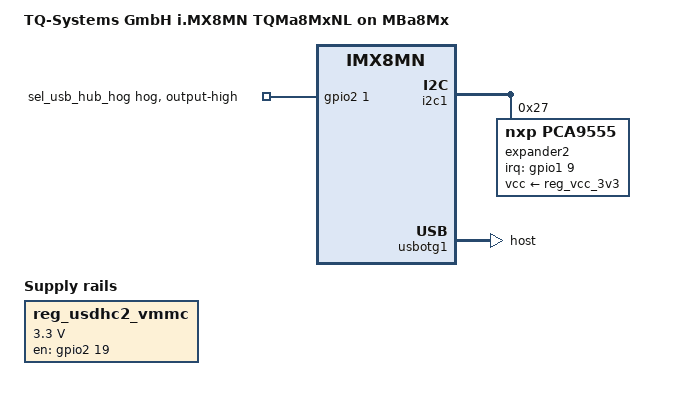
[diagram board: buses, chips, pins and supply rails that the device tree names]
// SPDX-License-Identifier: (GPL-2.0-or-later OR MIT)
/*
 * Copyright 2020-2021 TQ-Systems GmbH
 */

/dts-v1/;

#include "imx8mn-tqma8mqnl.dtsi"
#include "mba8mx.dtsi"

/ {
	model = "TQ-Systems GmbH i.MX8MN TQMa8MxNL on MBa8Mx";
	compatible = "tq,imx8mn-tqma8mqnl-mba8mx", "tq,imx8mn-tqma8mqnl", "fsl,imx8mn";
	chassis-type = "embedded";

	aliases {
		eeprom0 = &eeprom3;
		mmc0 = &usdhc3;
		mmc1 = &usdhc2;
		mmc2 = &usdhc1;
		rtc0 = &pcf85063;
		rtc1 = &snvs_rtc;
	};

	reg_usdhc2_vmmc: regulator-vmmc {
		compatible = "regulator-fixed";
		pinctrl-names = "default";
		pinctrl-0 = <&pinctrl_reg_usdhc2_vmmc>;
		regulator-name = "VSD_3V3";
		regulator-min-microvolt = <3300000>;
		regulator-max-microvolt = <3300000>;
		gpio = <&gpio2 19 GPIO_ACTIVE_HIGH>;
		enable-active-high;
		startup-delay-us = <100>;
		off-on-delay-us = <12000>;
	};
};

/* Located on TQMa8MxML-ADAP */
&gpio2 {
	pinctrl-names = "default";
	pinctrl-0 = <&pinctrl_usb0hub_sel>;

	sel_usb_hub_hog: sel-usb-hub-hog {
		gpio-hog;
		gpios = <1 GPIO_ACTIVE_HIGH>;
		output-high;
	};
};

&i2c1 {
	expander2: gpio@27 {
		compatible = "nxp,pca9555";
		reg = <0x27>;
		gpio-controller;
		#gpio-cells = <2>;
		vcc-supply = <&reg_vcc_3v3>;
		pinctrl-names = "default";
		pinctrl-0 = <&pinctrl_expander2>;
		interrupt-parent = <&gpio1>;
		interrupts = <9 IRQ_TYPE_EDGE_FALLING>;
		interrupt-controller;
		#interrupt-cells = <2>;
	};
};

&sai3 {
	assigned-clocks = <&clk IMX8MN_CLK_SAI3>;
	assigned-clock-parents = <&clk IMX8MN_AUDIO_PLL1_OUT>;
	clock-names = "bus", "mclk0", "mclk1", "mclk2", "mclk3", "pll8k", "pll11k";
	clocks = <&clk IMX8MN_CLK_SAI3_IPG>, <&clk IMX8MN_CLK_DUMMY>,
		 <&clk IMX8MN_CLK_SAI3_ROOT>, <&clk IMX8MN_CLK_DUMMY>,
		 <&clk IMX8MN_CLK_DUMMY>, <&clk IMX8MN_AUDIO_PLL1_OUT>,
		 <&clk IMX8MN_AUDIO_PLL2_OUT>;
};

&tlv320aic3x04 {
	clock-names = "mclk";
	clocks = <&clk IMX8MN_CLK_SAI3_ROOT>;
};

&usbotg1 {
	dr_mode = "host";
	disable-over-current;
	power-active-high;
	status = "okay";
};

&iomuxc {
	pinctrl_ecspi1: ecspi1grp {
		fsl,pins = <MX8MN_IOMUXC_ECSPI1_SCLK_ECSPI1_SCLK	0x00000146>,
			   <MX8MN_IOMUXC_ECSPI1_MOSI_ECSPI1_MOSI	0x00000146>,
			   <MX8MN_IOMUXC_ECSPI1_MISO_ECSPI1_MISO	0x00000146>,
			   <MX8MN_IOMUXC_ECSPI1_SS0_GPIO5_IO9		0x00000146>;
	};

	pinctrl_ecspi2: ecspi2grp {
		fsl,pins = <MX8MN_IOMUXC_ECSPI2_SCLK_ECSPI2_SCLK	0x00000146>,
			   <MX8MN_IOMUXC_ECSPI2_MOSI_ECSPI2_MOSI	0x00000146>,
			   <MX8MN_IOMUXC_ECSPI2_MISO_ECSPI2_MISO	0x00000146>,
			   <MX8MN_IOMUXC_ECSPI2_SS0_GPIO5_IO13		0x00000146>;
	};

	pinctrl_expander2: expander2grp {
		fsl,pins = <MX8MN_IOMUXC_GPIO1_IO09_GPIO1_IO9		0x94>;
	};

	pinctrl_fec1: fec1grp {
		fsl,pins = <MX8MN_IOMUXC_ENET_MDC_ENET1_MDC		0x40000002>,
			   <MX8MN_IOMUXC_ENET_MDIO_ENET1_MDIO		0x40000002>,
			   <MX8MN_IOMUXC_ENET_TD3_ENET1_RGMII_TD3	0x14>,
			   <MX8MN_IOMUXC_ENET_TD2_ENET1_RGMII_TD2	0x14>,
			   <MX8MN_IOMUXC_ENET_TD1_ENET1_RGMII_TD1	0x14>,
			   <MX8MN_IOMUXC_ENET_TD0_ENET1_RGMII_TD0	0x14>,
			   <MX8MN_IOMUXC_ENET_RD3_ENET1_RGMII_RD3	0x90>,
			   <MX8MN_IOMUXC_ENET_RD2_ENET1_RGMII_RD2	0x90>,
			   <MX8MN_IOMUXC_ENET_RD1_ENET1_RGMII_RD1	0x90>,
			   <MX8MN_IOMUXC_ENET_RD0_ENET1_RGMII_RD0	0x90>,
			   <MX8MN_IOMUXC_ENET_TXC_ENET1_RGMII_TXC	0x14>,
			   <MX8MN_IOMUXC_ENET_RXC_ENET1_RGMII_RXC	0x90>,
			   <MX8MN_IOMUXC_ENET_RX_CTL_ENET1_RGMII_RX_CTL	0x90>,
			   <MX8MN_IOMUXC_ENET_TX_CTL_ENET1_RGMII_TX_CTL	0x14>;
	};

	pinctrl_gpiobutton: gpiobuttongrp {
		fsl,pins = <MX8MN_IOMUXC_GPIO1_IO05_GPIO1_IO5		0x84>,
			   <MX8MN_IOMUXC_GPIO1_IO07_GPIO1_IO7		0x84>,
			   <MX8MN_IOMUXC_SD1_CLK_GPIO2_IO0		0x84>;
	};

	pinctrl_gpioled: gpioledgrp {
		fsl,pins = <MX8MN_IOMUXC_GPIO1_IO00_GPIO1_IO0		0x84>,
			   <MX8MN_IOMUXC_NAND_DQS_GPIO3_IO14		0x84>;
	};

	pinctrl_i2c2: i2c2grp {
		fsl,pins = <MX8MN_IOMUXC_I2C2_SCL_I2C2_SCL		0x400001C4>,
			   <MX8MN_IOMUXC_I2C2_SDA_I2C2_SDA		0x400001C4>;
	};

	pinctrl_i2c2_gpio: i2c2gpiogrp {
		fsl,pins = <MX8MN_IOMUXC_I2C2_SCL_GPIO5_IO16		0x400001C4>,
			   <MX8MN_IOMUXC_I2C2_SDA_GPIO5_IO17		0x400001C4>;
	};

	pinctrl_i2c3: i2c3grp {
		fsl,pins = <MX8MN_IOMUXC_I2C3_SCL_I2C3_SCL		0x400001C4>,
			   <MX8MN_IOMUXC_I2C3_SDA_I2C3_SDA		0x400001C4>;
	};

	pinctrl_i2c3_gpio: i2c3gpiogrp {
		fsl,pins = <MX8MN_IOMUXC_I2C3_SCL_GPIO5_IO18		0x400001C4>,
			   <MX8MN_IOMUXC_I2C3_SDA_GPIO5_IO19		0x400001C4>;
	};

	pinctrl_pwm3: pwm3grp {
		fsl,pins = <MX8MN_IOMUXC_GPIO1_IO14_PWM3_OUT		0x14>;
	};

	pinctrl_pwm4: pwm4grp {
		fsl,pins = <MX8MN_IOMUXC_GPIO1_IO15_PWM4_OUT		0x14>;
	};

	pinctrl_sai3: sai3grp {
		fsl,pins = <MX8MN_IOMUXC_SAI3_MCLK_SAI3_MCLK		0x94>,
			   <MX8MN_IOMUXC_SAI3_RXC_SAI3_RX_BCLK		0x94>,
			   <MX8MN_IOMUXC_SAI3_RXFS_SAI3_RX_SYNC		0x94>,
			   <MX8MN_IOMUXC_SAI3_RXD_SAI3_RX_DATA0		0x94>,
			   <MX8MN_IOMUXC_SAI3_TXFS_SAI3_TX_SYNC		0x94>,
			   <MX8MN_IOMUXC_SAI3_TXD_SAI3_TX_DATA0		0x94>,
			   <MX8MN_IOMUXC_SAI3_TXC_SAI3_TX_BCLK		0x94>;
	};

	pinctrl_uart1: uart1grp {
		fsl,pins = <MX8MN_IOMUXC_UART1_RXD_UART1_DCE_RX		0x16>,
			   <MX8MN_IOMUXC_UART1_TXD_UART1_DCE_TX		0x16>;
	};

	pinctrl_uart2: uart2grp {
		fsl,pins = <MX8MN_IOMUXC_UART2_RXD_UART2_DCE_RX		0x16>,
			   <MX8MN_IOMUXC_UART2_TXD_UART2_DCE_TX		0x16>;
	};

	pinctrl_uart3: uart3grp {
		fsl,pins = <MX8MN_IOMUXC_UART3_RXD_UART3_DCE_RX		0x16>,
			   <MX8MN_IOMUXC_UART3_TXD_UART3_DCE_TX		0x16>;
	};

	pinctrl_uart4: uart4grp {
		fsl,pins = <MX8MN_IOMUXC_UART4_RXD_UART4_DCE_RX		0x16>,
			   <MX8MN_IOMUXC_UART4_TXD_UART4_DCE_TX		0x16>;
	};

	pinctrl_usb0hub_sel: usb0hub-selgrp {
		/* SEL_USB_HUB_B */
		fsl,pins = <MX8MN_IOMUXC_SD1_CMD_GPIO2_IO1		0x84>;
	};

	pinctrl_usbotg: usbotggrp {
		fsl,pins = <MX8MN_IOMUXC_GPIO1_IO12_USB1_OTG_PWR	0x84>,
			   <MX8MN_IOMUXC_GPIO1_IO13_USB1_OTG_OC		0x84>;
	};

	pinctrl_usdhc2: usdhc2grp {
		fsl,pins = <MX8MN_IOMUXC_SD2_CLK_USDHC2_CLK		0x1d4>,
			   <MX8MN_IOMUXC_SD2_CMD_USDHC2_CMD		0x1d4>,
			   <MX8MN_IOMUXC_SD2_DATA0_USDHC2_DATA0		0x1d4>,
			   <MX8MN_IOMUXC_SD2_DATA1_USDHC2_DATA1		0x1d4>,
			   <MX8MN_IOMUXC_SD2_DATA2_USDHC2_DATA2		0x1d4>,
			   <MX8MN_IOMUXC_SD2_DATA3_USDHC2_DATA3		0x1d4>,
			   <MX8MN_IOMUXC_GPIO1_IO04_USDHC2_VSELECT	0x84>;
	};

	pinctrl_usdhc2_100mhz: usdhc2-100mhzgrp {
		fsl,pins = <MX8MN_IOMUXC_SD2_CLK_USDHC2_CLK		0x1d4>,
			   <MX8MN_IOMUXC_SD2_CMD_USDHC2_CMD		0x1d4>,
			   <MX8MN_IOMUXC_SD2_DATA0_USDHC2_DATA0		0x1d4>,
			   <MX8MN_IOMUXC_SD2_DATA1_USDHC2_DATA1		0x1d4>,
			   <MX8MN_IOMUXC_SD2_DATA2_USDHC2_DATA2		0x1d4>,
			   <MX8MN_IOMUXC_SD2_DATA3_USDHC2_DATA3		0x1d4>,
			   <MX8MN_IOMUXC_GPIO1_IO04_USDHC2_VSELECT	0x84>;
	};

	pinctrl_usdhc2_200mhz: usdhc2-200mhzgrp {
		fsl,pins = <MX8MN_IOMUXC_SD2_CLK_USDHC2_CLK		0x1d4>,
			   <MX8MN_IOMUXC_SD2_CMD_USDHC2_CMD		0x1d4>,
			   <MX8MN_IOMUXC_SD2_DATA0_USDHC2_DATA0		0x1d4>,
			   <MX8MN_IOMUXC_SD2_DATA1_USDHC2_DATA1		0x1d4>,
			   <MX8MN_IOMUXC_SD2_DATA2_USDHC2_DATA2		0x1d4>,
			   <MX8MN_IOMUXC_SD2_DATA3_USDHC2_DATA3		0x1d4>,
			   <MX8MN_IOMUXC_GPIO1_IO04_USDHC2_VSELECT	0x84>;
	};

	pinctrl_usdhc2_gpio: usdhc2-gpiogrp {
		fsl,pins = <MX8MN_IOMUXC_SD2_CD_B_GPIO2_IO12		0x84>;
	};
};
